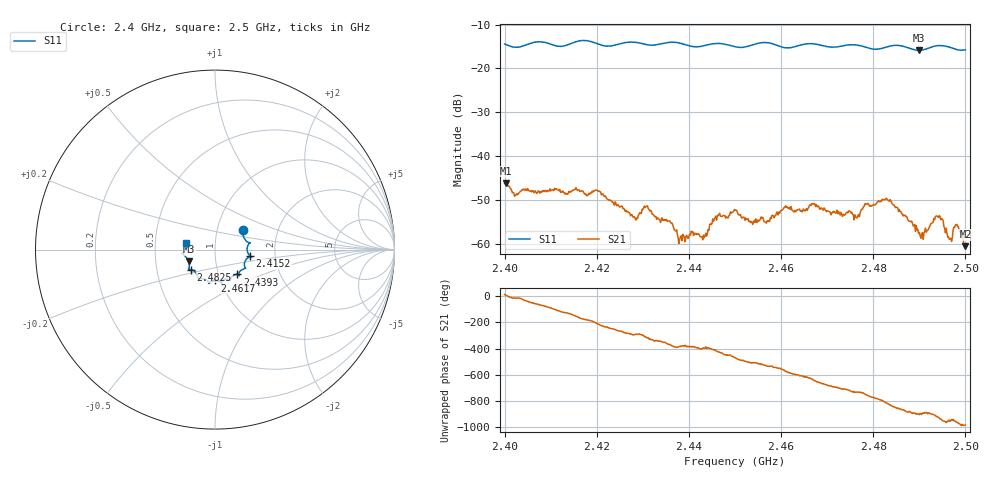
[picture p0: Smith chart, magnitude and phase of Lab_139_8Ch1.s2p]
# Hz S RI R 50
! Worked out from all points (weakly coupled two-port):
!   601 points, 2.4 GHz to 2.5 GHz, reference 50 ohm
!   highest |S21| = -46.05 dB at 2.4003 GHz (marker M1); lowest = -60.5 dB at 2.5 GHz (marker M2)
!   lowest |S11| = -15.9 dB at 2.4898 GHz (marker M3), VSWR 1.38, Z = 36.9 - j4.88 ohm
!   |S11| at or under -10 dB: start of sweep to end of sweep
!   S12 and S22 are empty: the file has one direction only
!   S11 on the Smith chart (normalised r, x): 2.4 GHz: 1.33, +0.30; 2.4152 GHz: 1.48, -0.11; 2.4393 GHz: 1.23, -0.35; 2.4617 GHz: 0.94, -0.33; 2.4825 GHz: 0.75, -0.17; 2.5 GHz: 0.72, +0.05
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2.4e9  0.1551 0.1098  0.00481 0.000973  0 0  0 0
2.400333e9  0.1548 0.1053  0.00497 0.000414  0 0  0 0
2.4025e9  0.1599 0.0689  0.00345 -0.0011  0 0  0 0
2.415167e9  0.1955 -0.0362  -0.00361 -0.00214  0 0  0 0
2.416667e9  0.2037 -0.0416  -0.00401 -0.000579  0 0  0 0
2.430833e9  0.1484 -0.1132  0.00195 0.00186  0 0  0 0
2.433333e9  0.1331 -0.1331  0.00189 0.000548  0 0  0 0
2.439333e9  0.1239 -0.1384  0.00114 -0.000424  0 0  0 0
2.443333e9  0.089 -0.1588  0.00094 -0.000729  0 0  0 0
2.446167e9  0.0849 -0.1732  0.000968 -0.00188  0 0  0 0
2.45e9  0.0664 -0.1642  -0.00082 -0.00229  0 0  0 0
2.457e9  0.0393 -0.1929  -0.00185 -0.000173  0 0  0 0
2.461667e9  0.000959 -0.1716  -0.00193 0.00166  0 0  0 0
2.466667e9  -0.0333 -0.1888  5.55e-05 0.0029  0 0  0 0
2.476333e9  -0.0944 -0.1595  0.00195 -0.000462  0 0  0 0
2.4825e9  -0.1328 -0.1111  8.09e-05 -0.00321  0 0  0 0
2.483333e9  -0.1402 -0.1103  -0.00074 -0.00304  0 0  0 0
2.489833e9  -0.1474 -0.0645  -0.00133 4.38e-05  0 0  0 0
2.494e9  -0.1806 -0.0237  -0.00192 0.000763  0 0  0 0
2.496667e9  -0.1737 -0.0129  -0.00065 0.000956  0 0  0 0
2.498333e9  -0.1631 0.00657  -0.000622 0.00145  0 0  0 0
2.5e9  -0.1596 0.0351  -0.000144 0.000937  0 0  0 0
